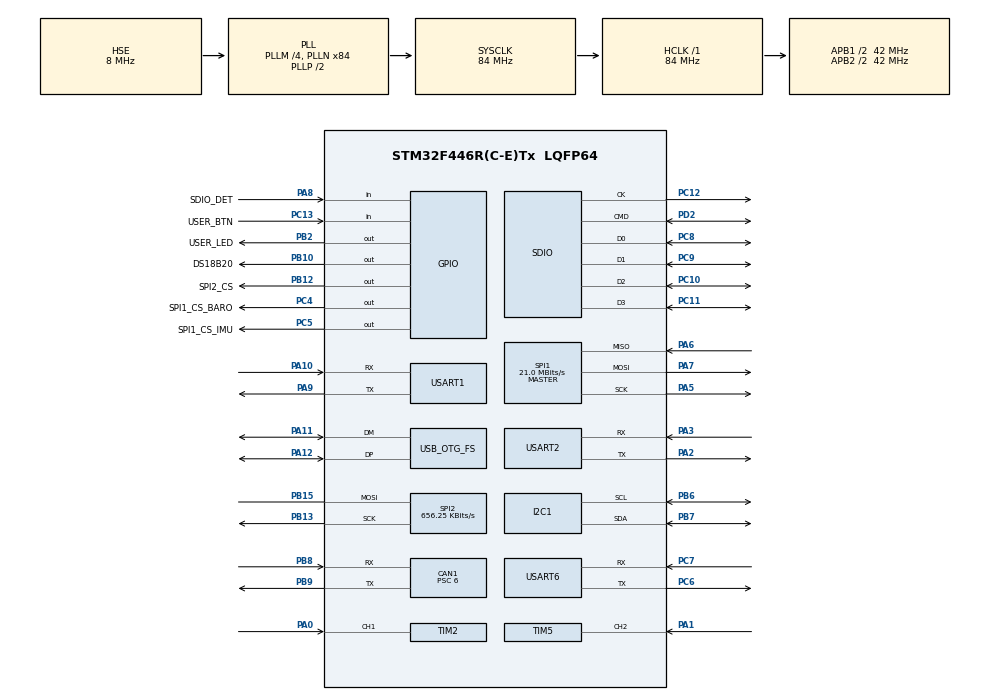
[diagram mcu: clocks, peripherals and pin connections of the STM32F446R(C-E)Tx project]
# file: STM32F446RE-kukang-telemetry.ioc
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CAN1.BS1=CAN_BS1_11TQ
CAN1.BS2=CAN_BS2_2TQ
CAN1.CalculateBaudRate=500000
CAN1.CalculateTimeBit=2000
CAN1.CalculateTimeQuantum=142.85714285714286
CAN1.Prescaler=6
Dma.Request0=SPI2_TX
Dma.SPI2_TX.0.Direction=DMA_MEMORY_TO_PERIPH
Dma.SPI2_TX.0.FIFOMode=DMA_FIFOMODE_DISABLE
Dma.SPI2_TX.0.Instance=DMA1_Stream4
Dma.SPI2_TX.0.MemDataAlignment=DMA_MDATAALIGN_BYTE
Dma.SPI2_TX.0.MemInc=DMA_MINC_ENABLE
Dma.SPI2_TX.0.Mode=DMA_NORMAL
Dma.SPI2_TX.0.PeriphDataAlignment=DMA_PDATAALIGN_BYTE
Dma.SPI2_TX.0.PeriphInc=DMA_PINC_DISABLE
Dma.SPI2_TX.0.Priority=DMA_PRIORITY_LOW
FATFS.BSP.number=1
FATFS._MAX_SS=4096
FATFS._USE_LFN=1
FATFS0.BSP.STBoard=false
FATFS0.BSP.api=Unknown
FATFS0.BSP.instance=PA8
FATFS0.BSP.ip=GPIO
FATFS0.BSP.mode=Input
FATFS0.BSP.name=Detect_SDIO
FATFS0.BSP.solution=PA8
Mcu.Family=STM32F4
Mcu.Name=STM32F446R(C-E)Tx
Mcu.Package=LQFP64
NVIC.CAN1_RX0_IRQn=true\:0\:0\:false\:false\:true\:true\:true\:true
NVIC.CAN1_RX1_IRQn=true\:0\:0\:false\:false\:true\:true\:true\:true
NVIC.CAN1_SCE_IRQn=true\:0\:0\:false\:false\:true\:true\:true\:true
NVIC.CAN1_TX_IRQn=true\:0\:0\:false\:false\:true\:true\:true\:true
NVIC.DMA1_Stream4_IRQn=true\:0\:0\:false\:false\:true\:false\:true\:true
NVIC.I2C1_ER_IRQn=true\:0\:0\:false\:false\:true\:true\:true\:true
NVIC.I2C1_EV_IRQn=true\:0\:0\:false\:false\:true\:true\:true\:true
NVIC.OTG_FS_IRQn=true\:0\:0\:false\:false\:true\:false\:true\:true
NVIC.PriorityGroup=NVIC_PRIORITYGROUP_4
NVIC.SDIO_IRQn=true\:0\:0\:false\:false\:true\:true\:true\:true
NVIC.SPI1_IRQn=true\:0\:0\:false\:false\:true\:true\:true\:true
NVIC.SPI2_IRQn=true\:0\:0\:false\:false\:true\:true\:true\:true
NVIC.TIM2_IRQn=true\:0\:0\:false\:false\:true\:true\:true\:true
NVIC.TIM5_IRQn=true\:0\:0\:false\:false\:true\:true\:true\:true
NVIC.TIM8_TRG_COM_TIM14_IRQn=true\:0\:0\:false\:false\:true\:true\:true\:true
NVIC.USART1_IRQn=true\:0\:0\:false\:false\:true\:true\:true\:true
NVIC.USART2_IRQn=true\:0\:0\:false\:false\:true\:true\:true\:true
NVIC.USART6_IRQn=true\:0\:0\:false\:false\:true\:true\:true\:true
PA0-WKUP.Signal=S_TIM2_CH1_ETR
PA1.Signal=S_TIM5_CH2
PA10.Mode=Asynchronous
PA10.Signal=USART1_RX
PA11.Mode=Device_Only
PA11.Signal=USB_OTG_FS_DM
PA12.Mode=Device_Only
PA12.Signal=USB_OTG_FS_DP
PA13.Mode=Serial_Wire
PA13.Signal=SYS_JTMS-SWDIO
PA14.Mode=Serial_Wire
PA14.Signal=SYS_JTCK-SWCLK
PA2.Mode=Asynchronous
PA2.Signal=USART2_TX
PA3.Mode=Asynchronous
PA3.Signal=USART2_RX
PA5.Mode=Full_Duplex_Master
PA5.Signal=SPI1_SCK
PA6.Mode=Full_Duplex_Master
PA6.Signal=SPI1_MISO
PA7.Mode=Full_Duplex_Master
PA7.Signal=SPI1_MOSI
PA8.GPIO_Label=SDIO_DET
PA8.GPIO_PuPd=GPIO_PULLUP
PA8.Signal=GPIO_Input
PA9.Mode=Asynchronous
PA9.Signal=USART1_TX
PB10.GPIO_Label=DS18B20
PB10.GPIO_ModeDefaultOutputPP=GPIO_MODE_OUTPUT_OD
PB10.GPIO_PuPd=GPIO_PULLUP
PB10.GPIO_Speed=GPIO_SPEED_FREQ_HIGH
PB10.PinState=GPIO_PIN_SET
PB10.Signal=GPIO_Output
PB12.GPIO_Label=SPI2_CS
PB12.Signal=GPIO_Output
PB13.Mode=Simplex_Bidirectional_Master
PB13.Signal=SPI2_SCK
PB15.Mode=Simplex_Bidirectional_Master
PB15.Signal=SPI2_MOSI
PB2.GPIO_Label=USER_LED
PB2.Signal=GPIO_Output
PB6.Mode=I2C
PB6.Signal=I2C1_SCL
PB7.Mode=I2C
PB7.Signal=I2C1_SDA
PB8.GPIO_PuPd=GPIO_PULLUP
PB8.Mode=CAN_Activate
PB8.Signal=CAN1_RX
PB9.Mode=CAN_Activate
PB9.Signal=CAN1_TX
PC10.GPIO_PuPd=GPIO_PULLUP
PC10.Mode=SD_4_bits_Wide_bus
PC10.Signal=SDIO_D2
PC11.GPIO_PuPd=GPIO_PULLUP
PC11.Mode=SD_4_bits_Wide_bus
PC11.Signal=SDIO_D3
PC12.GPIO_PuPd=GPIO_PULLUP
PC12.Mode=SD_4_bits_Wide_bus
PC12.Signal=SDIO_CK
PC13.GPIO_Label=USER_BTN
PC13.GPIO_PuPd=GPIO_PULLDOWN
PC13.Signal=GPIO_Input
PC14-OSC32_IN.Mode=LSE-External-Oscillator
PC14-OSC32_IN.Signal=RCC_OSC32_IN
PC15-OSC32_OUT.Mode=LSE-External-Oscillator
PC15-OSC32_OUT.Signal=RCC_OSC32_OUT
PC4.GPIO_Label=SPI1_CS_BARO
PC4.Signal=GPIO_Output
PC5.GPIO_Label=SPI1_CS_IMU
PC5.Signal=GPIO_Output
PC6.Mode=Asynchronous
PC6.Signal=USART6_TX
PC7.Mode=Asynchronous
PC7.Signal=USART6_RX
PC8.GPIO_PuPd=GPIO_PULLUP
PC8.Mode=SD_4_bits_Wide_bus
PC8.Signal=SDIO_D0
PC9.GPIO_PuPd=GPIO_PULLUP
PC9.Mode=SD_4_bits_Wide_bus
PC9.Signal=SDIO_D1
PD2.GPIO_PuPd=GPIO_PULLUP
PD2.Mode=SD_4_bits_Wide_bus
PD2.Signal=SDIO_CMD
PH0-OSC_IN.Mode=HSE-External-Oscillator
PH0-OSC_IN.Signal=RCC_OSC_IN
PH1-OSC_OUT.Mode=HSE-External-Oscillator
PH1-OSC_OUT.Signal=RCC_OSC_OUT
ProjectManager.HeapSize=0x600
ProjectManager.StackSize=0x1000
ProjectManager.TargetToolchain=STM32CubeIDE
RCC.AHBFreq_Value=84000000
RCC.APB1CLKDivider=RCC_HCLK_DIV2
RCC.APB1Freq_Value=42000000
RCC.APB1TimFreq_Value=84000000
RCC.APB2CLKDivider=RCC_HCLK_DIV2
RCC.APB2Freq_Value=42000000
RCC.APB2TimFreq_Value=84000000
RCC.CortexFreq_Value=84000000
RCC.HCLKFreq_Value=84000000
RCC.HSE_VALUE=8000000
RCC.PLLM=4
RCC.PLLN=84
RCC.PLLQ=7
RCC.PLLSAIM=4
RCC.PLLSAIN=96
RCC.PLLSAIP=RCC_PLLSAIP_DIV4
RCC.SYSCLKFreq_VALUE=84000000
RCC.SYSCLKSource=RCC_SYSCLKSOURCE_PLLCLK
RCC.USBCLockSelection=RCC_CLK48CLKSOURCE_PLLSAIP
RCC.USBFreq_Value=48000000
RCC.VCOOutputFreq_Value=168000000
SDIO.ClockDiv=10
SH.S_TIM2_CH1_ETR.0=TIM2_CH1,Input_Capture1_from_TI1
SH.S_TIM5_CH2.0=TIM5_CH2,Input_Capture2_from_TI2
SPI1.CalculateBaudRate=21.0 MBits/s
SPI1.Direction=SPI_DIRECTION_2LINES
SPI1.Mode=SPI_MODE_MASTER
SPI1.VirtualType=VM_MASTER
SPI2.BaudRatePrescaler=SPI_BAUDRATEPRESCALER_64
SPI2.CLKPhase=SPI_PHASE_2EDGE
SPI2.CLKPolarity=SPI_POLARITY_HIGH
SPI2.CalculateBaudRate=656.25 KBits/s
SPI2.Direction=SPI_DIRECTION_1LINE
SPI2.FirstBit=SPI_FIRSTBIT_LSB
SPI2.Mode=SPI_MODE_MASTER
SPI2.VirtualType=VM_MASTER
TIM2.Channel-Input_Capture1_from_TI1=TIM_CHANNEL_1
TIM5.Channel-Input_Capture2_from_TI2=TIM_CHANNEL_2
USART1.VirtualMode=VM_ASYNC
USART2.VirtualMode=VM_ASYNC
USART6.VirtualMode=VM_ASYNC
USB_DEVICE.CLASS_NAME_FS=CDC
USB_DEVICE.VirtualMode-CDC_FS=Cdc
USB_DEVICE.VirtualModeFS=Cdc_FS
USB_OTG_FS.VirtualMode=Device_Only
VP_FATFS_VS_SDIO.Mode=SDIO
VP_TIM14_VS_ClockSourceINT.Mode=Enable_Timer
VP_USB_DEVICE_VS_USB_DEVICE_CDC_FS.Mode=CDC_FS
board=custom

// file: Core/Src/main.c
/* USER CODE BEGIN Header */
/**
 ******************************************************************************
 * @file           : main.c
 * @brief          : Main program body
 ******************************************************************************
 * @attention
 *
 * Copyright (c) 2026 STMicroelectronics.
 * All rights reserved.
 *
 * This software is licensed under terms that can be found in the LICENSE file
 * in the root directory of this software component.
 * If no LICENSE file comes with this software, it is provided AS-IS.
 *
 ******************************************************************************
 */
/* USER CODE END Header */
#include "main.h"
#include "fatfs.h"
#include "usb_device.h"

/* USER CODE BEGIN Includes */
#include "bmp280.h"
#include "cli.h"
#include "config.h"
#include "ds18b20.h"
#include "gps_neo6m.h"
#include "mpu9250.h"
#include "speed.h"
#include "tm1638.h"
#include <stdio.h>

/* USER CODE END Includes */

/* USER CODE BEGIN PD */
#define M_PI 3.14
/* USER CODE END PD */

CAN_HandleTypeDef hcan1;

I2C_HandleTypeDef hi2c1;

SD_HandleTypeDef hsd;

SPI_HandleTypeDef hspi1;
SPI_HandleTypeDef hspi2;
DMA_HandleTypeDef hdma_spi2_tx;

TIM_HandleTypeDef htim2;
TIM_HandleTypeDef htim5;
TIM_HandleTypeDef htim14;

UART_HandleTypeDef huart1;
UART_HandleTypeDef huart2;
UART_HandleTypeDef huart6;

void SystemClock_Config(void);
void PeriphCommonClock_Config(void);
static void MX_GPIO_Init(void);
static void MX_DMA_Init(void);
static void MX_CAN1_Init(void);
static void MX_I2C1_Init(void);
static void MX_SPI1_Init(void);
static void MX_USART1_UART_Init(void);
static void MX_USART2_UART_Init(void);
static void MX_SDIO_SD_Init(void);
static void MX_SPI2_Init(void);
static void MX_TIM2_Init(void);
static void MX_TIM5_Init(void);
static void MX_USART6_UART_Init(void);
static void MX_TIM14_Init(void);

/* USER CODE BEGIN 0 */
CAN_TxHeaderTypeDef TxHeader;
CAN_RxHeaderTypeDef RxHeader;
uint8_t TxData[8];
uint8_t RxData[8];
uint32_t TxMailbox;

volatile float can_vbus = 0.0f;
volatile float can_actual_iq = 0.0f;
volatile uint8_t can_motor_active = 0;
volatile uint32_t last_can_motor_tick = 0;

void HAL_CAN_RxFifo0MsgPendingCallback(CAN_HandleTypeDef *hcan) {
  if (HAL_CAN_GetRxMessage(hcan, CAN_RX_FIFO0, &RxHeader, RxData) != HAL_OK) {
    Error_Handler();
  }

  if (RxHeader.StdId == 0x20) {
    HAL_GPIO_TogglePin(USER_LED_GPIO_Port, USER_LED_Pin);
    can_motor_active = RxData[0];
    uint16_t vbus_centi = (uint16_t)(RxData[1] | (RxData[2] << 8));
    int16_t iq_centi = (int16_t)(RxData[3] | (RxData[4] << 8));

    can_vbus = (float)vbus_centi / 100.0f;
    can_actual_iq = (float)iq_centi / 100.0f;
    last_can_motor_tick = HAL_GetTick();
  }
}

// ==============================================================================
// WHEEL SPEED DIGITAL FILTER & MOVING AVERAGE ALGORITHM (PA0 & PA1)
// ==============================================================================
// 1. Hardware Input Filter: TIM2_CH1 & TIM5_CH2 configured with ICFilter = 0x0F
//    (rejects electrical EMI / MOSFET switching pulses < 3 microseconds).
// 2. Glitch / Outlier Rejection: Ignores implausibly high speeds (> 100 km/h)
//    caused by contact bounce or noise spikes.
// 3. Circular Buffer Moving Average (SMA): Filters sensor misalignment and
// jitter
//    in O(1) time without blocking or consuming measurable CPU overhead.
// 4. Deceleration Clamping & Smooth Timeout: Extrapolates deceleration so the
//    reading ramps down smoothly when coasting/stopping instead of freezing.
// ==============================================================================
#define SPEED_FILTER_SIZE 6            // Moving average window (6 samples)
#define SPEED_MAX_PLAUSIBLE_KMH 100.0f // Plausible speed ceiling for EV (km/h)
#define RPM_MAX_PLAUSIBLE 2000.0f      // Plausible RPM ceiling

typedef struct {
  float buffer[SPEED_FILTER_SIZE];
  float sum;
  uint8_t index;
  uint8_t count;
  float filtered;
} SpeedFilter_t;

static SpeedFilter_t filter_speed_left = {0};
static SpeedFilter_t filter_speed_right = {0};
static SpeedFilter_t filter_rpm_left = {0};
static SpeedFilter_t filter_rpm_right = {0};

static volatile uint32_t last_valid_pulse_left = 0;
static volatile uint32_t last_valid_pulse_right = 0;

static void SpeedFilter_Reset(SpeedFilter_t *f) {
  for (int i = 0; i < SPEED_FILTER_SIZE; i++) {
    f->buffer[i] = 0.0f;
  }
  f->sum = 0.0f;
  f->index = 0;
  f->count = 0;
  f->filtered = 0.0f;
}

static void SpeedFilter_Init(void) {
  SpeedFilter_Reset(&filter_speed_left);
  SpeedFilter_Reset(&filter_speed_right);
  SpeedFilter_Reset(&filter_rpm_left);
  SpeedFilter_Reset(&filter_rpm_right);
  last_valid_pulse_left = 0;
  last_valid_pulse_right = 0;
}

static inline float SpeedFilter_Update(SpeedFilter_t *f, float new_val,
                                       float max_plausible) {
  // Reject noise spikes / impossible readings
  if (new_val < 0.0f || (max_plausible > 0.0f && new_val > max_plausible)) {
    return f->filtered;
  }

  // Circular moving average in O(1) time
  f->sum -= f->buffer[f->index];
  f->buffer[f->index] = new_val;
  f->sum += new_val;

  f->index++;
  if (f->index >= SPEED_FILTER_SIZE) {
    f->index = 0;
  }
  if (f->count < SPEED_FILTER_SIZE) {
    f->count++;
  }

  f->filtered = f->sum / (float)f->count;
  return f->filtered;
}

static void SpeedFilter_ProcessTimeout(uint32_t current_tick) {
  Speed_UpdateTimeout();

  // Deceleration tracking & smooth decay for Left Wheel (PA1 / TIM5 CH2)
  if (last_valid_pulse_left > 0) {
    uint32_t dt_left = current_tick - last_valid_pulse_left;
    if (dt_left >= 2000 || speed_left_kmh == 0.0f) {
      speed_left_kmh = 0.0f;
      rpm_tim5ch2 = 0.0f;
      SpeedFilter_Reset(&filter_speed_left);
      SpeedFilter_Reset(&filter_rpm_left);
    } else if (dt_left > 300 && current_config.wheel_diameter_mm > 0.0f &&
               current_config.pulses_per_rev > 0.0f) {
      float max_possible_kmh =
          (M_PI * current_config.wheel_diameter_mm * 3600.0f) /
          ((float)dt_left * current_config.pulses_per_rev * 1000.0f);
      if (speed_left_kmh > max_possible_kmh) {
        speed_left_kmh = max_possible_kmh;
        rpm_tim5ch2 = (speed_left_kmh * 1000000.0f) /
                      (M_PI * current_config.wheel_diameter_mm * 60.0f);
        filter_speed_left.filtered = speed_left_kmh;
        filter_rpm_left.filtered = rpm_tim5ch2;
      }
    }
  }

  // Deceleration tracking & smooth decay for Right Wheel (PA0 / TIM2 CH1)
  if (last_valid_pulse_right > 0) {
    uint32_t dt_right = current_tick - last_valid_pulse_right;
    if (dt_right >= 2000 || speed_right_kmh == 0.0f) {
      speed_right_kmh = 0.0f;
      rpm_tim2ch1 = 0.0f;
      SpeedFilter_Reset(&filter_speed_right);
      SpeedFilter_Reset(&filter_rpm_right);
    } else if (dt_right > 300 && current_config.wheel_diameter_mm > 0.0f &&
               current_config.pulses_per_rev > 0.0f) {
      float max_possible_kmh =
          (M_PI * current_config.wheel_diameter_mm * 3600.0f) /
          ((float)dt_right * current_config.pulses_per_rev * 1000.0f);
      if (speed_right_kmh > max_possible_kmh) {
        speed_right_kmh = max_possible_kmh;
        rpm_tim2ch1 = (speed_right_kmh * 1000000.0f) /
                      (M_PI * current_config.wheel_diameter_mm * 60.0f);
        filter_speed_right.filtered = speed_right_kmh;
        filter_rpm_right.filtered = rpm_tim2ch1;
      }
    }
  }
}

void HAL_TIM_IC_CaptureCallback(TIM_HandleTypeDef *htim) {
  Speed_IC_Callback(htim);

  uint32_t now = HAL_GetTick();

  if (htim->Instance == TIM2 && htim->Channel == HAL_TIM_ACTIVE_CHANNEL_1) {
    // Right wheel: PA0
    speed_right_kmh = SpeedFilter_Update(&filter_speed_right, speed_right_kmh,
                                         SPEED_MAX_PLAUSIBLE_KMH);
    rpm_tim2ch1 =
        SpeedFilter_Update(&filter_rpm_right, rpm_tim2ch1, RPM_MAX_PLAUSIBLE);
    last_valid_pulse_right = now;
  } else if (htim->Instance == TIM5 &&
             htim->Channel == HAL_TIM_ACTIVE_CHANNEL_2) {
    // Left wheel: PA1
    speed_left_kmh = SpeedFilter_Update(&filter_speed_left, speed_left_kmh,
                                        SPEED_MAX_PLAUSIBLE_KMH);
    rpm_tim5ch2 =
        SpeedFilter_Update(&filter_rpm_left, rpm_tim5ch2, RPM_MAX_PLAUSIBLE);
    last_valid_pulse_left = now;
  }
}

#define MOTOR_DEFAULT_RPM 1000
#define MOTOR_RPM_STEP 100
#define MOTOR_RPM_MIN 100
#define MOTOR_RPM_MAX 5000

void CAN_SendMotorControl(uint8_t run_state, uint16_t rpm) {
  TxHeader.StdId = 0x10;
  TxHeader.ExtId = 0x00;
  TxHeader.IDE = CAN_ID_STD;
  TxHeader.RTR = CAN_RTR_DATA;
  TxHeader.DLC = 8;
  TxHeader.TransmitGlobalTime = DISABLE;

  TxData[0] = run_state;
  TxData[1] = (uint8_t)(rpm & 0xFF);
  TxData[2] = (uint8_t)((rpm >> 8) & 0xFF);
  TxData[3] = 0;
  TxData[4] = 0;
  TxData[5] = 0;
  TxData[6] = 0;
  TxData[7] = 0;

  if (HAL_CAN_GetTxMailboxesFreeLevel(&hcan1) > 0) {
    HAL_CAN_AddTxMessage(&hcan1, &TxHeader, TxData, &TxMailbox);
  }
}

/* USER CODE END 0 */

int main(void) {

  /* MCU Configuration--------------------------------------------------------*/

  /* Reset of all peripherals, Initializes the Flash interface and the Systick.
   */
  HAL_Init();

  /* Configure the system clock */
  SystemClock_Config();

  /* Configure the peripherals common clocks */
  PeriphCommonClock_Config();

  /* Initialize all configured peripherals */
  MX_GPIO_Init();
  MX_DMA_Init();
  MX_CAN1_Init();
  MX_I2C1_Init();
  MX_SPI1_Init();
  MX_USART1_UART_Init();
  MX_USART2_UART_Init();
  MX_SDIO_SD_Init();
  MX_SPI2_Init();
  MX_TIM2_Init();
  MX_TIM5_Init();
  MX_USART6_UART_Init();
  MX_USB_DEVICE_Init();
  MX_FATFS_Init();
  MX_TIM14_Init();
  /* USER CODE BEGIN 2 */
  HAL_TIM_Base_Start(&htim14); // Start Timer 14 for microsecond delays
  CAN_FilterTypeDef canfilterconfig;

  canfilterconfig.FilterBank = 0;
  canfilterconfig.FilterMode = CAN_FILTERMODE_IDMASK;
  canfilterconfig.FilterScale = CAN_FILTERSCALE_32BIT;
  canfilterconfig.FilterIdHigh = 0x0000;
  canfilterconfig.FilterIdLow = 0x0000;
  canfilterconfig.FilterMaskIdHigh = 0x0000;
  canfilterconfig.FilterMaskIdLow = 0x0000;
  canfilterconfig.FilterFIFOAssignment = CAN_RX_FIFO0;
  canfilterconfig.FilterActivation = ENABLE;
  canfilterconfig.SlaveStartFilterBank = 14;

  if (HAL_CAN_ConfigFilter(&hcan1, &canfilterconfig) != HAL_OK) {
    Error_Handler();
  }

  if (HAL_CAN_Start(&hcan1) != HAL_OK) {
    Error_Handler();
  }

  if (HAL_CAN_ActivateNotification(&hcan1, CAN_IT_RX_FIFO0_MSG_PENDING) !=
      HAL_OK) {
    Error_Handler();
  }

  TxHeader.StdId = 0x10;
  TxHeader.ExtId = 0x01;
  TxHeader.RTR = CAN_RTR_DATA;
  TxHeader.IDE = CAN_ID_STD;
  TxHeader.DLC = 8;
  TxHeader.TransmitGlobalTime = DISABLE;
  /* USER CODE END 2 */

  /* Infinite loop */
  /* USER CODE BEGIN WHILE */
  TM1638_Init();
  TM1638_Clear();

  BMP280_Init(&hspi1);
  MPU9250_Init(&hspi1);
  GPS_Init(&huart1);

  Config_Init();
  CLI_Init();
  Speed_Init();
  SpeedFilter_Init();

  uint8_t last_raw_buttons = 0;
  uint8_t debounced_buttons = 0;
  uint8_t prev_debounced_buttons = 0;
  uint32_t last_btn_action_tick[8] = {0};

  char display_str[16];

  uint16_t motor_target_rpm = MOTOR_DEFAULT_RPM;
  uint8_t stop_packets_remaining = 0;
  uint32_t btn2_hold_time = 0;
  uint32_t btn3_hold_time = 0;
  uint32_t last_btn_repeat = 0;

  uint8_t display_mode =
      0; // 0=Set RPM, 1=Accel/Gyro, 2=Temp/Baro, 3=GPS, 4=Motor/Efficiency
  uint8_t sub_mode = 0; // Sub-mode for current display_mode

  float accumulated_distance_km = 0.0f;
  float accumulated_energy_ws = 0.0f;
  float accumulated_energy_kwh = 0.0f;
  float km_per_kwh = 0.0f;
  uint32_t last_energy_tick = 0;

  BMP280_Data bmp_data = {0};
  MPU9250_Data imu_data = {0};
  GPS_Data gps_data = {0};

  DS18B20_Device ds18b20_devs[2];
  uint8_t num_ds18b20 = DS18B20_Search(GPIOB, GPIO_PIN_10, ds18b20_devs, 2);
  uint32_t last_temp_req = 0;
  uint8_t temp_req_pending = 0;

#pragma pack(push, 1)
  typedef struct {
    uint32_t timestamp_ms; // Fallback tick timestamp
    uint16_t year;
    uint8_t month;
    uint8_t day;
    uint8_t hour;
    uint8_t min;
    uint8_t sec;
    uint8_t gps_time_valid;
    float accel_x;
    float accel_y;
    float accel_z;
    float gyro_x;
    float gyro_y;
    float gyro_z;
    float altitude;
    float latitude;
    float longitude;
    float gps_altitude;
    float pdop;
    uint8_t fix_type;
    uint8_t num_satellites;
    float speed_left;
    float speed_right;
    float vbus;
    float iq;
    float rpm_right;
    float rpm_left;
    float temp1;
    float temp2;
  } LogData;
#pragma pack(pop)

  uint8_t is_logging = 0;
  uint8_t sd_error = 0;
  uint32_t log_start_time = 0;

  uint32_t last_ui_tick = 0;
  uint32_t last_log_tick = 0;
  uint32_t last_sync_tick = 0;

  char current_filename[16] = {0};

  while (1) {
    CLI_Task();

    uint32_t current_tick = HAL_GetTick();
    SpeedFilter_ProcessTimeout(current_tick);

    // --- DS18B20 Periodic Search Retry (if < 2 sensors detected) ---
    static uint32_t last_ds18b20_search = 0;
    if (num_ds18b20 < 2 && current_tick - last_ds18b20_search >= 3000) {
      last_ds18b20_search = current_tick;
      uint8_t found = DS18B20_Search(GPIOB, GPIO_PIN_10, ds18b20_devs, 2);
      if (found > num_ds18b20) {
        num_ds18b20 = found;
      }
    }

    // --- DS18B20 Async State Machine ---
    if (num_ds18b20 > 0) {
      if (!temp_req_pending && current_tick - last_temp_req >= 1000) {
        DS18B20_StartAll(GPIOB, GPIO_PIN_10);
        last_temp_req = current_tick;
        temp_req_pending = 1;
      } else if (temp_req_pending && current_tick - last_temp_req >= 800) {
        for (int i = 0; i < num_ds18b20; i++) {
          ds18b20_devs[i].temperature =
              DS18B20_ReadTemp(GPIOB, GPIO_PIN_10, ds18b20_devs[i].rom_code);
        }
        temp_req_pending = 0;
        last_temp_req = current_tick;
      }
    }

    // --- Logging Task (Configurable Interval) ---
    // Must run BEFORE UI Task to prevent SDIO FIFO polling from colliding with
    // SPI2 DMA!
    if (is_logging) {
      if (current_tick - last_log_tick >=
          (uint32_t)current_config.log_interval_ms) {
        last_log_tick = current_tick;

        // Calculate Wheel RPM & Temperature with robust fallbacks
        float log_r1 = rpm_tim2ch1;
        float log_r2 = rpm_tim5ch2;
        if (log_r1 <= 0.0f && speed_right_kmh > 0.0f &&
            current_config.wheel_diameter_mm > 0.0f) {
          log_r1 = (speed_right_kmh * 1000000.0f) /
                   (M_PI * current_config.wheel_diameter_mm * 60.0f);
        }
        if (log_r2 <= 0.0f && speed_left_kmh > 0.0f &&
            current_config.wheel_diameter_mm > 0.0f) {
          log_r2 = (speed_left_kmh * 1000000.0f) /
                   (M_PI * current_config.wheel_diameter_mm * 60.0f);
        }

        float log_t1 = 0.0f;
        float log_t2 = 0.0f;
        if (num_ds18b20 >= 2) {
          log_t1 = (ds18b20_devs[0].temperature > -50.0f &&
                    ds18b20_devs[0].temperature < 125.0f &&
                    ds18b20_devs[0].temperature != 0.0f)
                       ? ds18b20_devs[0].temperature
                       : bmp_data.temperature;
          log_t2 = (ds18b20_devs[1].temperature > -50.0f &&
                    ds18b20_devs[1].temperature < 125.0f &&
                    ds18b20_devs[1].temperature != 0.0f)
                       ? ds18b20_devs[1].temperature
                       : bmp_data.temperature;
        } else if (num_ds18b20 == 1) {
          log_t1 = (ds18b20_devs[0].temperature > -50.0f &&
                    ds18b20_devs[0].temperature < 125.0f &&
                    ds18b20_devs[0].temperature != 0.0f)
                       ? ds18b20_devs[0].temperature
                       : bmp_data.temperature;
          log_t2 = bmp_data.temperature;
        } else {
          log_t1 = bmp_data.temperature;
          log_t2 = bmp_data.temperature;
        }

        LogData log_entry;
        log_entry.timestamp_ms = current_tick - log_start_time;
        log_entry.year = gps_data.year;
        log_entry.month = gps_data.month;
        log_entry.day = gps_data.day;
        log_entry.hour = gps_data.hour;
        log_entry.min = gps_data.min;
        log_entry.sec = gps_data.sec;
        log_entry.gps_time_valid = gps_data.is_time_valid;

        log_entry.accel_x = imu_data.accel_x;
        log_entry.accel_y = imu_data.accel_y;
        log_entry.accel_z = imu_data.accel_z;
        log_entry.gyro_x = imu_data.gyro_x;
        log_entry.gyro_y = imu_data.gyro_y;
        log_entry.gyro_z = imu_data.gyro_z;
        log_entry.altitude = bmp_data.altitude;
        log_entry.latitude = gps_data.latitude;
        log_entry.longitude = gps_data.longitude;
        log_entry.gps_altitude = gps_data.gps_altitude;
        log_entry.pdop = gps_data.pdop;
        log_entry.fix_type = gps_data.fix_type;
        log_entry.num_satellites = gps_data.num_satellites;

        log_entry.speed_left = speed_left_kmh;
        log_entry.speed_right = speed_right_kmh;
        log_entry.vbus = can_vbus;
        log_entry.iq = can_actual_iq;
        log_entry.rpm_right = log_r1;
        log_entry.rpm_left = log_r2;
        log_entry.temp1 = log_t1;
        log_entry.temp2 = log_t2;

        UINT bytes_written = 0;
        FRESULT w_res =
            f_write(&SDFile, &log_entry, sizeof(LogData), &bytes_written);
        if (w_res != FR_OK || bytes_written < sizeof(LogData)) {
          CLI_Print("Log err: write %d (wrote %u/%u). Recovering SD...\r\n",
                    w_res, bytes_written, (uint32_t)sizeof(LogData));
          sd_error = 1;

          // Auto Recovery Mechanism
          f_close(&SDFile);
          f_mount(NULL, SDPath, 1); // Force unmount

          if (f_mount(&SDFatFS, SDPath, 1) == FR_OK) {
            if (f_open(&SDFile, current_filename, FA_OPEN_APPEND | FA_WRITE) ==
                FR_OK) {
              // Enforce alignment to sizeof(LogData) so fptr never shifts off
              // record boundaries
              FSIZE_t cur_sz = f_size(&SDFile);
              FSIZE_t aligned_sz = (cur_sz / sizeof(LogData)) * sizeof(LogData);
              if (cur_sz != aligned_sz) {
                f_lseek(&SDFile, aligned_sz);
              }
              last_sync_tick = HAL_GetTick();
              CLI_Print("SD Recovered (Aligned to %lu)!\r\n",
                        (uint32_t)aligned_sz);
              sd_error = 0;
            } else {
              is_logging = 0; // Fatal error, stop logging
              CLI_Print("SD Recovery failed\r\n");
            }
          } else {
            is_logging = 0;
            CLI_Print("SD Mount failed\r\n");
          }
        }

        // Periodic sync every 2000 ms to avoid microSD flash wear latency
        if (is_logging && (current_tick - last_sync_tick >= 2000)) {
          FRESULT s_res = f_sync(&SDFile);
          if (s_res != FR_OK) {
            CLI_Print("Log err: sync %d. Recovering SD...\r\n", s_res);
            sd_error = 1;
            // Same recovery logic for sync
            f_close(&SDFile);
            f_mount(NULL, SDPath, 1);
            if (f_mount(&SDFatFS, SDPath, 1) == FR_OK) {
              if (f_open(&SDFile, current_filename,
                         FA_OPEN_APPEND | FA_WRITE) == FR_OK) {
                FSIZE_t cur_sz = f_size(&SDFile);
                FSIZE_t aligned_sz =
                    (cur_sz / sizeof(LogData)) * sizeof(LogData);
                if (cur_sz != aligned_sz) {
                  f_lseek(&SDFile, aligned_sz);
                }
                last_sync_tick = HAL_GetTick();
                CLI_Print("SD Recovered (Aligned to %lu)!\r\n",
                          (uint32_t)aligned_sz);
                sd_error = 0;
              } else {
                is_logging = 0;
              }
            } else {
              is_logging = 0;
            }
          }
          last_sync_tick = current_tick;
        }
      } // End if (interval)
    } // End if (is_logging)

    // --- UI and Sensor Task (20 Hz / 50ms) ---
    if (current_tick - last_ui_tick >= 50) {
      last_ui_tick = current_tick;

      // 1. Read and Debounce TM1638 Buttons
      uint8_t raw_buttons = TM1638_ReadButtons();
      // Require 2 consecutive matching 50ms samples to eliminate
      // bounce/glitches
      if (raw_buttons == last_raw_buttons) {
        debounced_buttons = raw_buttons;
      }
      last_raw_buttons = raw_buttons;

      // Detect rising edges (0 -> 1) and falling edges (1 -> 0)
      uint8_t pressed_edges = debounced_buttons & ~prev_debounced_buttons;
      uint8_t released_edges = ~debounced_buttons & prev_debounced_buttons;

      // --- Motor Throttle & Speed Controls ---
      // Button 1 (S1 = 0x01): Throttle / Gas (Momentary)
      uint8_t throttle_active = (debounced_buttons & 0x01) ? 1 : 0;
      if (throttle_active) {
        CAN_SendMotorControl(1, motor_target_rpm);
      } else if (released_edges & 0x01) {
        // Throttle just released: return display to Set RPM and send stop
        // packets
        display_mode = 0;
        CAN_SendMotorControl(0, 0);
        stop_packets_remaining = 3;
      } else if (stop_packets_remaining > 0) {
        CAN_SendMotorControl(0, 0);
        stop_packets_remaining--;
      }

      // Button 2 (S2 = 0x02): Speed Down (Decrement target speed)
      if ((pressed_edges & 0x02) &&
          (current_tick - last_btn_action_tick[1] >= 200)) {
        last_btn_action_tick[1] = current_tick;
        if (motor_target_rpm >= (MOTOR_RPM_MIN + MOTOR_RPM_STEP)) {
          motor_target_rpm -= MOTOR_RPM_STEP;
        } else {
          motor_target_rpm = MOTOR_RPM_MIN;
        }
        display_mode = 0; // Switch to Set RPM display
        btn2_hold_time = current_tick;
      } else if ((debounced_buttons & 0x02) &&
                 (current_tick - btn2_hold_time > 400) &&
                 (current_tick - last_btn_repeat > 100)) {
        if (motor_target_rpm >= (MOTOR_RPM_MIN + MOTOR_RPM_STEP)) {
          motor_target_rpm -= MOTOR_RPM_STEP;
        } else {
          motor_target_rpm = MOTOR_RPM_MIN;
        }
        display_mode = 0; // Switch to Set RPM display
        last_btn_repeat = current_tick;
      }

      // Button 3 (S3 = 0x04): Speed Up (Increment target speed)
      if ((pressed_edges & 0x04) &&
          (current_tick - last_btn_action_tick[2] >= 200)) {
        last_btn_action_tick[2] = current_tick;
        if (motor_target_rpm + MOTOR_RPM_STEP <= MOTOR_RPM_MAX) {
          motor_target_rpm += MOTOR_RPM_STEP;
        } else {
          motor_target_rpm = MOTOR_RPM_MAX;
        }
        display_mode = 0; // Switch to Set RPM display
        btn3_hold_time = current_tick;
      } else if ((debounced_buttons & 0x04) &&
                 (current_tick - btn3_hold_time > 400) &&
                 (current_tick - last_btn_repeat > 100)) {
        if (motor_target_rpm + MOTOR_RPM_STEP <= MOTOR_RPM_MAX) {
          motor_target_rpm += MOTOR_RPM_STEP;
        } else {
          motor_target_rpm = MOTOR_RPM_MAX;
        }
        display_mode = 0; // Switch to Set RPM display
        last_btn_repeat = current_tick;
      }

      // Button 8 (S8 = 0x80): Accel & Gyro
      if ((pressed_edges & 0x80) &&
          (current_tick - last_btn_action_tick[7] >= 250)) {
        last_btn_action_tick[7] = current_tick;
        if (display_mode == 1)
          sub_mode = (sub_mode + 1) % 6;
        else {
          display_mode = 1;
          sub_mode = 0;
        }
      }

      // Button 7 (S7 = 0x40): Temperatures and Barometer
      if ((pressed_edges & 0x40) &&
          (current_tick - last_btn_action_tick[6] >= 250)) {
        last_btn_action_tick[6] = current_tick;
        if (display_mode == 2)
          sub_mode = (sub_mode + 1) % (2 + num_ds18b20);
        else {
          display_mode = 2;
          sub_mode = 0;
        }
      }

      // Button 6 (S6 = 0x20): GPS
      if ((pressed_edges & 0x20) &&
          (current_tick - last_btn_action_tick[5] >= 250)) {
        last_btn_action_tick[5] = current_tick;
        if (display_mode == 3)
          sub_mode = (sub_mode + 1) % 6; // Lat, Lon, Sats, Fix, PDOP, Alt
        else {
          display_mode = 3;
          sub_mode = 0;
        }
      }

      // Button 5 (S5 = 0x10): Logging Start / Stop (400ms lockout prevents
      // chatter restart)
      if ((pressed_edges & 0x10) &&
          (current_tick - last_btn_action_tick[4] >= 400)) {
        last_btn_action_tick[4] = current_tick;
        if (is_logging || sd_error) {
          f_close(&SDFile);
          f_mount(NULL, SDPath, 1);
          is_logging = 0;
          sd_error = 0;
          CLI_Print("Log stopped / Err cleared\r\n");
        } else {
          FRESULT mount_res = f_mount(&SDFatFS, SDPath, 1);
          if (mount_res == FR_OK) {
            uint16_t file_index = 1;
            while (file_index < 1000) {
              sprintf(current_filename, "log%u.bin", file_index);
              FRESULT open_res =
                  f_open(&SDFile, current_filename, FA_CREATE_NEW | FA_WRITE);
              if (open_res == FR_OK) {
                is_logging = 1;
                sd_error = 0;
                log_start_time = HAL_GetTick();
                last_log_tick = log_start_time; // Reset log tick
                last_sync_tick =
                    log_start_time; // Reset sync tick to prevent premature sync

                // Reset distance and energy baseline at start line
                accumulated_distance_km = 0.0f;
                accumulated_energy_ws = 0.0f;
                accumulated_energy_kwh = 0.0f;
                km_per_kwh = 0.0f;
                last_energy_tick = log_start_time;

                CLI_Print("Log started: %s (Baseline Reset)\r\n",
                          current_filename);
                break;
              }
              file_index++;
            }
            if (file_index >= 1000) {
              CLI_Print("Log err: index full\r\n");
              sd_error = 1;
            }
          } else {
            CLI_Print("Log err: mount %d\r\n", mount_res);
            sd_error = 1;
          }
        }
      }

      // Button 4 (S4 = 0x08): Motor Telemetry & Efficiency (Vbus, Iq, Watt,
      // RPM1, RPM2, km/kWh)
      if ((pressed_edges & 0x08) &&
          (current_tick - last_btn_action_tick[3] >= 250)) {
        last_btn_action_tick[3] = current_tick;
        if (display_mode == 4)
          sub_mode = (sub_mode + 1) % 6;
        else {
          display_mode = 4;
          sub_mode = 0;
        }
      }

      prev_debounced_buttons = debounced_buttons;

      // 2. Read Sensors
      MPU9250_ReadSensor(&hspi1, &imu_data);
      BMP280_ReadSensor(&hspi1, &bmp_data);
      GPS_GetLatestData(&gps_data); // Gets latest parsed data

      // 3. Distance and Energy Accumulation (since start line / Button 5
      // logging)
      if (last_energy_tick == 0) {
        last_energy_tick = current_tick;
      }
      float dt_energy = (current_tick - last_energy_tick) / 1000.0f;
      last_energy_tick = current_tick;

      if (is_logging && dt_energy > 0.0f && dt_energy < 1.0f) {
        // Distance: integrated from average wheel speed
        float avg_wheel_spd = (speed_left_kmh + speed_right_kmh) / 2.0f;
        if (avg_wheel_spd > 0.0f) {
          accumulated_distance_km += (avg_wheel_spd / 3600.0f) * dt_energy;
        }

        // Electrical Energy: Power (Watt) = Vbus * Iq
        float motor_power = can_vbus * can_actual_iq;
        if (motor_power > 0.0f) {
          accumulated_energy_ws += motor_power * dt_energy;
          accumulated_energy_kwh = accumulated_energy_ws / 3600000.0f;
        }

        // Efficiency: km / kWh
        if (accumulated_energy_kwh > 0.00005f) {
          km_per_kwh = accumulated_distance_km / accumulated_energy_kwh;
        } else {
          km_per_kwh = 0.0f;
        }
      }

      // 4. Display Logic
      uint8_t led_mask = 0;

      SpeedFilter_ProcessTimeout(current_tick);
      // Coast strategy warning
      float avg_speed = (speed_left_kmh + speed_right_kmh) / 2.0f;
      if (avg_speed > 0 && avg_speed < current_config.coast_speed_min) {
        if ((HAL_GetTick() / 250) % 2) {
          led_mask |= 0x40; // Blink LED 7
        }
      }

      if (throttle_active) {
        // Throttle active: Leftmost segment is 'A' (indicator), followed by
        // target speed
        snprintf(display_str, sizeof(display_str), "A%7u", motor_target_rpm);
        led_mask |= 0x01; // LED 1 indicates throttle command is being sent
      } else {
        switch (display_mode) {
        case 0: // Set RPM display
          snprintf(display_str, sizeof(display_str), "SET%5u",
                   motor_target_rpm);
          led_mask |= 0x02; // LED 2 indicates set RPM display
          break;

        case 1: // Accel & Gyro
          led_mask = 1 << sub_mode;
          if (sub_mode == 0)
            sprintf(display_str, "Ax %5.2f", imu_data.accel_x);
          else if (sub_mode == 1)
            sprintf(display_str, "Ay %5.2f", imu_data.accel_y);
          else if (sub_mode == 2)
            sprintf(display_str, "Az %5.2f", imu_data.accel_z);
          else if (sub_mode == 3)
            sprintf(display_str, "gx %5.1f", imu_data.gyro_x);
          else if (sub_mode == 4)
            sprintf(display_str, "gy %5.1f", imu_data.gyro_y);
          else if (sub_mode == 5)
            sprintf(display_str, "gz %5.1f", imu_data.gyro_z);
          break;

        case 2: // Temperatures dan baro
          led_mask = 1 << sub_mode;
          if (sub_mode == 0)
            sprintf(display_str, "b %6.2f", bmp_data.temperature);
          else if (sub_mode == 1) // Show altitude with 3 decimal places
            sprintf(display_str, "%8.3f", bmp_data.altitude);
          else if (sub_mode == 2) {
            if (num_ds18b20 > 0)
              sprintf(display_str, "d1%6.2f", ds18b20_devs[0].temperature);
            else
              sprintf(display_str, "d1 NONE ");
          } else if (sub_mode == 3) {
            if (num_ds18b20 > 1)
              sprintf(display_str, "d2%6.2f", ds18b20_devs[1].temperature);
            else
              sprintf(display_str, "d2 NONE ");
          }
          break;
        case 3:                     // GPS
          led_mask = 1 << sub_mode; // LED 1 to 6
          if (gps_data.is_valid || sub_mode >= 2) {
            if (sub_mode == 0)
              sprintf(display_str, "%8.4f", gps_data.latitude);
            else if (sub_mode == 1)
              sprintf(display_str, "%8.4f", gps_data.longitude);
            else if (sub_mode == 2)
              sprintf(display_str, "SATS  %2d", gps_data.num_satellites);
            else if (sub_mode == 3)
              sprintf(display_str, "FIX    %d", gps_data.fix_type);
            else if (sub_mode == 4)
              sprintf(display_str, "DOP %4.1f", gps_data.pdop);
            else if (sub_mode == 5)
              sprintf(display_str, "ALT%5.1f", gps_data.gps_altitude);
          } else {
            sprintf(display_str, "NO  GPS ");
          }
          break;

        case 4:                     // Motor Telemetry & Efficiency (Button 4)
          led_mask = 1 << sub_mode; // LED 1 to 6
          if (sub_mode == 0) {
            // DC Bus Voltage (V)
            sprintf(display_str, "U  %5.2f", can_vbus);
          } else if (sub_mode == 1) {
            // Actual Iq (A)
            sprintf(display_str, "A  %5.2f", can_actual_iq);
          } else if (sub_mode == 2) {
            // Motor Power (Watt = Vbus * Iq)
            float power_w = can_vbus * can_actual_iq;
            sprintf(display_str, "P  %5.1f", power_w);
          } else if (sub_mode == 3) {
            // RPM Timer 2 CH1 (Right Wheel)
            sprintf(display_str, "r1 %5.0f", rpm_tim2ch1);
          } else if (sub_mode == 4) {
            // RPM Timer 5 CH2 (Left Wheel)
            sprintf(display_str, "r2 %5.0f", rpm_tim5ch2);
          } else if (sub_mode == 5) {
            // Efficiency (km / kWh)
            sprintf(display_str, "E  %5.1f", km_per_kwh);
          }
          break;
        }
      }

      if (sd_error) {
        led_mask |= 0x80; // Solid LED 8 on error
      } else if (is_logging) {
        if ((current_tick / 500) % 2) {
          led_mask |= 0x80; // Blink LED 8 on logging
        }
      }

      TM1638_SendDMA(display_str, led_mask);
    } // End UI Task

    // --- Coprocessor Telemetry Task (2 Hz / 500ms) ---
    static uint32_t last_telemetry_tick = 0;
    if (current_tick - last_telemetry_tick >= 500) {
      last_telemetry_tick = current_tick;

      // Temperature fallback: prioritize DS18B20; fallback to BMP280
      // temperature if DS18B20 is unavailable or invalid
      float temp1 = 0.0f;
      float temp2 = 0.0f;
      if (num_ds18b20 >= 2) {
        temp1 = (ds18b20_devs[0].temperature > -50.0f &&
                 ds18b20_devs[0].temperature < 125.0f &&
                 ds18b20_devs[0].temperature != 0.0f)
                    ? ds18b20_devs[0].temperature
                    : bmp_data.temperature;
        temp2 = (ds18b20_devs[1].temperature > -50.0f &&
                 ds18b20_devs[1].temperature < 125.0f &&
                 ds18b20_devs[1].temperature != 0.0f)
                    ? ds18b20_devs[1].temperature
                    : bmp_data.temperature;
      } else if (num_ds18b20 == 1) {
        temp1 = (ds18b20_devs[0].temperature > -50.0f &&
                 ds18b20_devs[0].temperature < 125.0f &&
                 ds18b20_devs[0].temperature != 0.0f)
                    ? ds18b20_devs[0].temperature
                    : bmp_data.temperature;
        temp2 = bmp_data.temperature;
      } else {
        temp1 = bmp_data.temperature;
        temp2 = bmp_data.temperature;
      }

      // Wheel RPM fallback: TIM2 is Right Wheel, TIM5 is Left Wheel.
      // If RPM is 0 while wheel speed is non-zero, calculate RPM directly from
      // speed to prevent zero RPM in telemetry
      float r1 = rpm_tim2ch1;
      float r2 = rpm_tim5ch2;
      if (r1 <= 0.0f && speed_right_kmh > 0.0f &&
          current_config.wheel_diameter_mm > 0.0f) {
        r1 = (speed_right_kmh * 1000000.0f) /
             (M_PI * current_config.wheel_diameter_mm * 60.0f);
      }
      if (r2 <= 0.0f && speed_left_kmh > 0.0f &&
          current_config.wheel_diameter_mm > 0.0f) {
        r2 = (speed_left_kmh * 1000000.0f) /
             (M_PI * current_config.wheel_diameter_mm * 60.0f);
      }

      static char tele_buf[512];
      int len = snprintf(
          tele_buf, sizeof(tele_buf),
          "{\"ts\":%lu,\"y\":%u,\"m\":%u,\"d\":%u,\"h\":%u,\"min\":%u,\"s\":%u,"
          "\"v\":%u,"
          "\"ax\":%.2f,\"ay\":%.2f,\"az\":%.2f,"
          "\"gx\":%.1f,\"gy\":%.1f,\"gz\":%.1f,"
          "\"alt\":%.1f,"
          "\"lat\":%.6f,\"lon\":%.6f,\"galt\":%.1f,"
          "\"pd\":%.1f,\"fix\":%u,\"ns\":%u,"
          "\"sl\":%.1f,\"sr\":%.1f,"
          "\"vbus\":%.2f,\"iq\":%.2f,"
          "\"r1\":%.0f,\"r2\":%.0f,"
          "\"t1\":%.2f,\"t2\":%.2f}\n",
          (unsigned long)current_tick, (unsigned int)gps_data.year,
          (unsigned int)gps_data.month, (unsigned int)gps_data.day,
          (unsigned int)gps_data.hour, (unsigned int)gps_data.min,
          (unsigned int)gps_data.sec, (unsigned int)gps_data.is_time_valid,
          (double)imu_data.accel_x, (double)imu_data.accel_y,
          (double)imu_data.accel_z, (double)imu_data.gyro_x,
          (double)imu_data.gyro_y, (double)imu_data.gyro_z,
          (double)bmp_data.altitude, (double)gps_data.latitude,
          (double)gps_data.longitude, (double)gps_data.gps_altitude,
          (double)gps_data.pdop, (unsigned int)gps_data.fix_type,
          (unsigned int)gps_data.num_satellites, (double)speed_left_kmh,
          (double)speed_right_kmh, (double)can_vbus, (double)can_actual_iq,
          (double)r1, (double)r2, (double)temp1, (double)temp2);

      if (len > 0 && len < sizeof(tele_buf)) {
        // Use IT (Interrupt) to prevent blocking the main loop
        // If the previous transmission hasn't finished, this returns HAL_BUSY
        // and skips
        HAL_UART_Transmit_IT(&huart2, (uint8_t *)tele_buf, len);
      }
    }

    /* USER CODE END WHILE */

  }
}

void SystemClock_Config(void) {
  RCC_OscInitTypeDef RCC_OscInitStruct = {0};
  RCC_ClkInitTypeDef RCC_ClkInitStruct = {0};

  /** Configure the main internal regulator output voltage
   */
  __HAL_RCC_PWR_CLK_ENABLE();
  __HAL_PWR_VOLTAGESCALING_CONFIG(PWR_REGULATOR_VOLTAGE_SCALE3);

  /** Initializes the RCC Oscillators according to the specified parameters
   * in the RCC_OscInitTypeDef structure.
   */
  RCC_OscInitStruct.OscillatorType = RCC_OSCILLATORTYPE_HSE;
  RCC_OscInitStruct.HSEState = RCC_HSE_ON;
  RCC_OscInitStruct.PLL.PLLState = RCC_PLL_ON;
  RCC_OscInitStruct.PLL.PLLSource = RCC_PLLSOURCE_HSE;
  RCC_OscInitStruct.PLL.PLLM = 4;
  RCC_OscInitStruct.PLL.PLLN = 84;
  RCC_OscInitStruct.PLL.PLLP = RCC_PLLP_DIV2;
  RCC_OscInitStruct.PLL.PLLQ = 7;
  RCC_OscInitStruct.PLL.PLLR = 2;
  if (HAL_RCC_OscConfig(&RCC_OscInitStruct) != HAL_OK) {
    Error_Handler();
  }

  /** Initializes the CPU, AHB and APB buses clocks
   */
  RCC_ClkInitStruct.ClockType = RCC_CLOCKTYPE_HCLK | RCC_CLOCKTYPE_SYSCLK |
                                RCC_CLOCKTYPE_PCLK1 | RCC_CLOCKTYPE_PCLK2;
  RCC_ClkInitStruct.SYSCLKSource = RCC_SYSCLKSOURCE_PLLCLK;
  RCC_ClkInitStruct.AHBCLKDivider = RCC_SYSCLK_DIV1;
  RCC_ClkInitStruct.APB1CLKDivider = RCC_HCLK_DIV2;
  RCC_ClkInitStruct.APB2CLKDivider = RCC_HCLK_DIV2;

  if (HAL_RCC_ClockConfig(&RCC_ClkInitStruct, FLASH_LATENCY_2) != HAL_OK) {
    Error_Handler();
  }
}

void PeriphCommonClock_Config(void) {
  RCC_PeriphCLKInitTypeDef PeriphClkInitStruct = {0};

  /** Initializes the peripherals clock
   */
  PeriphClkInitStruct.PeriphClockSelection =
      RCC_PERIPHCLK_SDIO | RCC_PERIPHCLK_CLK48;
  PeriphClkInitStruct.PLLSAI.PLLSAIM = 4;
  PeriphClkInitStruct.PLLSAI.PLLSAIN = 96;
  PeriphClkInitStruct.PLLSAI.PLLSAIQ = 2;
  PeriphClkInitStruct.PLLSAI.PLLSAIP = RCC_PLLSAIP_DIV4;
  PeriphClkInitStruct.PLLSAIDivQ = 1;
  PeriphClkInitStruct.Clk48ClockSelection = RCC_CLK48CLKSOURCE_PLLSAIP;
  PeriphClkInitStruct.SdioClockSelection = RCC_SDIOCLKSOURCE_CLK48;
  if (HAL_RCCEx_PeriphCLKConfig(&PeriphClkInitStruct) != HAL_OK) {
    Error_Handler();
  }
}

static void MX_CAN1_Init(void) {

  hcan1.Instance = CAN1;
  hcan1.Init.Prescaler = 6;
  hcan1.Init.Mode = CAN_MODE_NORMAL;
  hcan1.Init.SyncJumpWidth = CAN_SJW_1TQ;
  hcan1.Init.TimeSeg1 = CAN_BS1_11TQ;
  hcan1.Init.TimeSeg2 = CAN_BS2_2TQ;
  hcan1.Init.TimeTriggeredMode = DISABLE;
  hcan1.Init.AutoBusOff = DISABLE;
  hcan1.Init.AutoWakeUp = DISABLE;
  hcan1.Init.AutoRetransmission = DISABLE;
  hcan1.Init.ReceiveFifoLocked = DISABLE;
  hcan1.Init.TransmitFifoPriority = DISABLE;
  if (HAL_CAN_Init(&hcan1) != HAL_OK) {
    Error_Handler();
  }
  /* USER CODE BEGIN CAN1_Init 2 */
  hcan1.Instance = CAN1;
  hcan1.Init.Prescaler = 6;
  hcan1.Init.Mode = CAN_MODE_NORMAL;
  hcan1.Init.SyncJumpWidth = CAN_SJW_1TQ;
  hcan1.Init.TimeSeg1 = CAN_BS1_11TQ;
  hcan1.Init.TimeSeg2 = CAN_BS2_2TQ;
  hcan1.Init.TimeTriggeredMode = DISABLE;
  hcan1.Init.AutoBusOff = ENABLE;
  hcan1.Init.AutoWakeUp = DISABLE;
  hcan1.Init.AutoRetransmission = ENABLE;
  hcan1.Init.ReceiveFifoLocked = DISABLE;
  hcan1.Init.TransmitFifoPriority = DISABLE;
  if (HAL_CAN_Init(&hcan1) != HAL_OK) {
    Error_Handler();
  }
  /* USER CODE END CAN1_Init 2 */
}

static void MX_I2C1_Init(void) {

  hi2c1.Instance = I2C1;
  hi2c1.Init.ClockSpeed = 100000;
  hi2c1.Init.DutyCycle = I2C_DUTYCYCLE_2;
  hi2c1.Init.OwnAddress1 = 0;
  hi2c1.Init.AddressingMode = I2C_ADDRESSINGMODE_7BIT;
  hi2c1.Init.DualAddressMode = I2C_DUALADDRESS_DISABLE;
  hi2c1.Init.OwnAddress2 = 0;
  hi2c1.Init.GeneralCallMode = I2C_GENERALCALL_DISABLE;
  hi2c1.Init.NoStretchMode = I2C_NOSTRETCH_DISABLE;
  if (HAL_I2C_Init(&hi2c1) != HAL_OK) {
    Error_Handler();
  }
}

static void MX_SDIO_SD_Init(void) {

  hsd.Instance = SDIO;
  hsd.Init.ClockEdge = SDIO_CLOCK_EDGE_RISING;
  hsd.Init.ClockBypass = SDIO_CLOCK_BYPASS_DISABLE;
  hsd.Init.ClockPowerSave = SDIO_CLOCK_POWER_SAVE_DISABLE;
  hsd.Init.BusWide = SDIO_BUS_WIDE_1B;
  hsd.Init.HardwareFlowControl = SDIO_HARDWARE_FLOW_CONTROL_DISABLE;
  hsd.Init.ClockDiv = 10;
}

static void MX_SPI1_Init(void) {

  /* SPI1 parameter configuration*/
  hspi1.Instance = SPI1;
  hspi1.Init.Mode = SPI_MODE_MASTER;
  hspi1.Init.Direction = SPI_DIRECTION_2LINES;
  hspi1.Init.DataSize = SPI_DATASIZE_8BIT;
  hspi1.Init.CLKPolarity = SPI_POLARITY_LOW;
  hspi1.Init.CLKPhase = SPI_PHASE_1EDGE;
  hspi1.Init.NSS = SPI_NSS_SOFT;
  hspi1.Init.BaudRatePrescaler = SPI_BAUDRATEPRESCALER_2;
  hspi1.Init.FirstBit = SPI_FIRSTBIT_MSB;
  hspi1.Init.TIMode = SPI_TIMODE_DISABLE;
  hspi1.Init.CRCCalculation = SPI_CRCCALCULATION_DISABLE;
  hspi1.Init.CRCPolynomial = 10;
  if (HAL_SPI_Init(&hspi1) != HAL_OK) {
    Error_Handler();
  }
}

static void MX_SPI2_Init(void) {

  /* SPI2 parameter configuration*/
  hspi2.Instance = SPI2;
  hspi2.Init.Mode = SPI_MODE_MASTER;
  hspi2.Init.Direction = SPI_DIRECTION_1LINE;
  hspi2.Init.DataSize = SPI_DATASIZE_8BIT;
  hspi2.Init.CLKPolarity = SPI_POLARITY_HIGH;
  hspi2.Init.CLKPhase = SPI_PHASE_2EDGE;
  hspi2.Init.NSS = SPI_NSS_SOFT;
  hspi2.Init.BaudRatePrescaler = SPI_BAUDRATEPRESCALER_64;
  hspi2.Init.FirstBit = SPI_FIRSTBIT_LSB;
  hspi2.Init.TIMode = SPI_TIMODE_DISABLE;
  hspi2.Init.CRCCalculation = SPI_CRCCALCULATION_DISABLE;
  hspi2.Init.CRCPolynomial = 10;
  if (HAL_SPI_Init(&hspi2) != HAL_OK) {
    Error_Handler();
  }
}

static void MX_TIM2_Init(void) {

  TIM_MasterConfigTypeDef sMasterConfig = {0};
  TIM_IC_InitTypeDef sConfigIC = {0};

  htim2.Instance = TIM2;
  htim2.Init.Prescaler = 0;
  htim2.Init.CounterMode = TIM_COUNTERMODE_UP;
  htim2.Init.Period = 4294967295;
  htim2.Init.ClockDivision = TIM_CLOCKDIVISION_DIV1;
  htim2.Init.AutoReloadPreload = TIM_AUTORELOAD_PRELOAD_DISABLE;
  if (HAL_TIM_IC_Init(&htim2) != HAL_OK) {
    Error_Handler();
  }
  sMasterConfig.MasterOutputTrigger = TIM_TRGO_RESET;
  sMasterConfig.MasterSlaveMode = TIM_MASTERSLAVEMODE_DISABLE;
  if (HAL_TIMEx_MasterConfigSynchronization(&htim2, &sMasterConfig) != HAL_OK) {
    Error_Handler();
  }
  sConfigIC.ICPolarity = TIM_INPUTCHANNELPOLARITY_RISING;
  sConfigIC.ICSelection = TIM_ICSELECTION_DIRECTTI;
  sConfigIC.ICPrescaler = TIM_ICPSC_DIV1;
  sConfigIC.ICFilter = 0x0F;
  if (HAL_TIM_IC_ConfigChannel(&htim2, &sConfigIC, TIM_CHANNEL_1) != HAL_OK) {
    Error_Handler();
  }
  /* USER CODE BEGIN TIM2_Init 2 */
  htim2.Instance = TIM2;
  htim2.Init.Prescaler = 0;
  htim2.Init.CounterMode = TIM_COUNTERMODE_UP;
  htim2.Init.Period = 4294967295;
  htim2.Init.ClockDivision = TIM_CLOCKDIVISION_DIV1;
  htim2.Init.AutoReloadPreload = TIM_AUTORELOAD_PRELOAD_DISABLE;
  if (HAL_TIM_IC_Init(&htim2) != HAL_OK) {
    Error_Handler();
  }
  sMasterConfig.MasterOutputTrigger = TIM_TRGO_RESET;
  sMasterConfig.MasterSlaveMode = TIM_MASTERSLAVEMODE_DISABLE;
  if (HAL_TIMEx_MasterConfigSynchronization(&htim2, &sMasterConfig) != HAL_OK) {
    Error_Handler();
  }
  sConfigIC.ICPolarity = TIM_INPUTCHANNELPOLARITY_RISING;
  sConfigIC.ICSelection = TIM_ICSELECTION_DIRECTTI;
  sConfigIC.ICPrescaler = TIM_ICPSC_DIV1;
  sConfigIC.ICFilter = 0x0F;
  if (HAL_TIM_IC_ConfigChannel(&htim2, &sConfigIC, TIM_CHANNEL_1) != HAL_OK) {
    Error_Handler();
  }
  /* USER CODE END TIM2_Init 2 */
}

static void MX_TIM5_Init(void) {

  TIM_MasterConfigTypeDef sMasterConfig = {0};
  TIM_IC_InitTypeDef sConfigIC = {0};

  htim5.Instance = TIM5;
  htim5.Init.Prescaler = 0;
  htim5.Init.CounterMode = TIM_COUNTERMODE_UP;
  htim5.Init.Period = 4294967295;
  htim5.Init.ClockDivision = TIM_CLOCKDIVISION_DIV1;
  htim5.Init.AutoReloadPreload = TIM_AUTORELOAD_PRELOAD_DISABLE;
  if (HAL_TIM_IC_Init(&htim5) != HAL_OK) {
    Error_Handler();
  }
  sMasterConfig.MasterOutputTrigger = TIM_TRGO_RESET;
  sMasterConfig.MasterSlaveMode = TIM_MASTERSLAVEMODE_DISABLE;
  if (HAL_TIMEx_MasterConfigSynchronization(&htim5, &sMasterConfig) != HAL_OK) {
    Error_Handler();
  }
  sConfigIC.ICPolarity = TIM_INPUTCHANNELPOLARITY_RISING;
  sConfigIC.ICSelection = TIM_ICSELECTION_DIRECTTI;
  sConfigIC.ICPrescaler = TIM_ICPSC_DIV1;
  sConfigIC.ICFilter = 0x0F;
  if (HAL_TIM_IC_ConfigChannel(&htim5, &sConfigIC, TIM_CHANNEL_2) != HAL_OK) {
    Error_Handler();
  }
  /* USER CODE BEGIN TIM5_Init 2 */
  htim5.Instance = TIM5;
  htim5.Init.Prescaler = 0;
  htim5.Init.CounterMode = TIM_COUNTERMODE_UP;
  htim5.Init.Period = 4294967295;
  htim5.Init.ClockDivision = TIM_CLOCKDIVISION_DIV1;
  htim5.Init.AutoReloadPreload = TIM_AUTORELOAD_PRELOAD_DISABLE;
  if (HAL_TIM_IC_Init(&htim5) != HAL_OK) {
    Error_Handler();
  }
  sMasterConfig.MasterOutputTrigger = TIM_TRGO_RESET;
  sMasterConfig.MasterSlaveMode = TIM_MASTERSLAVEMODE_DISABLE;
  if (HAL_TIMEx_MasterConfigSynchronization(&htim5, &sMasterConfig) != HAL_OK) {
    Error_Handler();
  }
  sConfigIC.ICPolarity = TIM_INPUTCHANNELPOLARITY_RISING;
  sConfigIC.ICSelection = TIM_ICSELECTION_DIRECTTI;
  sConfigIC.ICPrescaler = TIM_ICPSC_DIV1;
  sConfigIC.ICFilter = 0x0F;
  if (HAL_TIM_IC_ConfigChannel(&htim5, &sConfigIC, TIM_CHANNEL_2) != HAL_OK) {
    Error_Handler();
  }
  /* USER CODE END TIM5_Init 2 */
}

static void MX_TIM14_Init(void) {

  htim14.Instance = TIM14;
  htim14.Init.Prescaler = 0;
  htim14.Init.CounterMode = TIM_COUNTERMODE_UP;
  htim14.Init.Period = 65535;
  htim14.Init.ClockDivision = TIM_CLOCKDIVISION_DIV1;
  htim14.Init.AutoReloadPreload = TIM_AUTORELOAD_PRELOAD_DISABLE;
  if (HAL_TIM_Base_Init(&htim14) != HAL_OK) {
    Error_Handler();
  }
  /* USER CODE BEGIN TIM14_Init 2 */
  htim14.Instance = TIM14;
  htim14.Init.Prescaler = 83;
  htim14.Init.CounterMode = TIM_COUNTERMODE_UP;
  htim14.Init.Period = 65535;
  htim14.Init.ClockDivision = TIM_CLOCKDIVISION_DIV1;
  htim14.Init.AutoReloadPreload = TIM_AUTORELOAD_PRELOAD_DISABLE;
  if (HAL_TIM_Base_Init(&htim14) != HAL_OK) {
    Error_Handler();
  }
  /* USER CODE END TIM14_Init 2 */
}

static void MX_USART1_UART_Init(void) {

  huart1.Instance = USART1;
  huart1.Init.BaudRate = 115200;
  huart1.Init.WordLength = UART_WORDLENGTH_8B;
  huart1.Init.StopBits = UART_STOPBITS_1;
  huart1.Init.Parity = UART_PARITY_NONE;
  huart1.Init.Mode = UART_MODE_TX_RX;
  huart1.Init.HwFlowCtl = UART_HWCONTROL_NONE;
  huart1.Init.OverSampling = UART_OVERSAMPLING_16;
  if (HAL_UART_Init(&huart1) != HAL_OK) {
    Error_Handler();
  }
  /* USER CODE BEGIN USART1_Init 2 */
  huart1.Instance = USART1;
  huart1.Init.BaudRate = 230400;
  huart1.Init.WordLength = UART_WORDLENGTH_8B;
  huart1.Init.StopBits = UART_STOPBITS_1;
  huart1.Init.Parity = UART_PARITY_NONE;
  huart1.Init.Mode = UART_MODE_TX_RX;
  huart1.Init.HwFlowCtl = UART_HWCONTROL_NONE;
  huart1.Init.OverSampling = UART_OVERSAMPLING_16;
  if (HAL_UART_Init(&huart1) != HAL_OK) {
    Error_Handler();
  }
  /* USER CODE END USART1_Init 2 */
}

static void MX_USART2_UART_Init(void) {

  huart2.Instance = USART2;
  huart2.Init.BaudRate = 115200;
  huart2.Init.WordLength = UART_WORDLENGTH_8B;
  huart2.Init.StopBits = UART_STOPBITS_1;
  huart2.Init.Parity = UART_PARITY_NONE;
  huart2.Init.Mode = UART_MODE_TX_RX;
  huart2.Init.HwFlowCtl = UART_HWCONTROL_NONE;
  huart2.Init.OverSampling = UART_OVERSAMPLING_16;
  if (HAL_UART_Init(&huart2) != HAL_OK) {
    Error_Handler();
  }
}

static void MX_USART6_UART_Init(void) {

  huart6.Instance = USART6;
  huart6.Init.BaudRate = 115200;
  huart6.Init.WordLength = UART_WORDLENGTH_8B;
  huart6.Init.StopBits = UART_STOPBITS_1;
  huart6.Init.Parity = UART_PARITY_NONE;
  huart6.Init.Mode = UART_MODE_TX_RX;
  huart6.Init.HwFlowCtl = UART_HWCONTROL_NONE;
  huart6.Init.OverSampling = UART_OVERSAMPLING_16;
  if (HAL_UART_Init(&huart6) != HAL_OK) {
    Error_Handler();
  }
}

static void MX_DMA_Init(void) {

  /* DMA controller clock enable */
  __HAL_RCC_DMA1_CLK_ENABLE();

  /* DMA interrupt init */
  /* DMA1_Stream4_IRQn interrupt configuration */
  HAL_NVIC_SetPriority(DMA1_Stream4_IRQn, 0, 0);
  HAL_NVIC_EnableIRQ(DMA1_Stream4_IRQn);
}

static void MX_GPIO_Init(void) {
  GPIO_InitTypeDef GPIO_InitStruct = {0};

  /* GPIO Ports Clock Enable */
  __HAL_RCC_GPIOC_CLK_ENABLE();
  __HAL_RCC_GPIOH_CLK_ENABLE();
  __HAL_RCC_GPIOA_CLK_ENABLE();
  __HAL_RCC_GPIOB_CLK_ENABLE();
  __HAL_RCC_GPIOD_CLK_ENABLE();

  /*Configure GPIO pin Output Level */
  HAL_GPIO_WritePin(GPIOC, SPI1_CS_BARO_Pin | SPI1_CS_IMU_Pin, GPIO_PIN_RESET);

  /*Configure GPIO pin Output Level */
  HAL_GPIO_WritePin(GPIOB, USER_LED_Pin | SPI2_CS_Pin, GPIO_PIN_RESET);

  /*Configure GPIO pin Output Level */
  HAL_GPIO_WritePin(DS18B20_GPIO_Port, DS18B20_Pin, GPIO_PIN_SET);

  /*Configure GPIO pin : USER_BTN_Pin */
  GPIO_InitStruct.Pin = USER_BTN_Pin;
  GPIO_InitStruct.Mode = GPIO_MODE_INPUT;
  GPIO_InitStruct.Pull = GPIO_PULLDOWN;
  HAL_GPIO_Init(USER_BTN_GPIO_Port, &GPIO_InitStruct);

  /*Configure GPIO pins : SPI1_CS_BARO_Pin SPI1_CS_IMU_Pin */
  GPIO_InitStruct.Pin = SPI1_CS_BARO_Pin | SPI1_CS_IMU_Pin;
  GPIO_InitStruct.Mode = GPIO_MODE_OUTPUT_PP;
  GPIO_InitStruct.Pull = GPIO_NOPULL;
  GPIO_InitStruct.Speed = GPIO_SPEED_FREQ_LOW;
  HAL_GPIO_Init(GPIOC, &GPIO_InitStruct);

  /*Configure GPIO pins : USER_LED_Pin SPI2_CS_Pin */
  GPIO_InitStruct.Pin = USER_LED_Pin | SPI2_CS_Pin;
  GPIO_InitStruct.Mode = GPIO_MODE_OUTPUT_PP;
  GPIO_InitStruct.Pull = GPIO_NOPULL;
  GPIO_InitStruct.Speed = GPIO_SPEED_FREQ_LOW;
  HAL_GPIO_Init(GPIOB, &GPIO_InitStruct);

  /*Configure GPIO pin : DS18B20_Pin */
  GPIO_InitStruct.Pin = DS18B20_Pin;
  GPIO_InitStruct.Mode = GPIO_MODE_OUTPUT_OD;
  GPIO_InitStruct.Pull = GPIO_PULLUP;
  GPIO_InitStruct.Speed = GPIO_SPEED_FREQ_HIGH;
  HAL_GPIO_Init(DS18B20_GPIO_Port, &GPIO_InitStruct);

  /*Configure GPIO pin : SDIO_DET_Pin */
  GPIO_InitStruct.Pin = SDIO_DET_Pin;
  GPIO_InitStruct.Mode = GPIO_MODE_INPUT;
  GPIO_InitStruct.Pull = GPIO_PULLUP;
  HAL_GPIO_Init(SDIO_DET_GPIO_Port, &GPIO_InitStruct);

}

/* USER CODE BEGIN 4 */
void HAL_UART_RxCpltCallback(UART_HandleTypeDef *huart) {
  if (huart->Instance == USART1) {
    GPS_UART_RxCpltCallback(huart);
  }
}
/* USER CODE END 4 */

void Error_Handler(void) {
  /* USER CODE BEGIN Error_Handler_Debug */
  /* User can add his own implementation to report the HAL error return state
   */
  __disable_irq();
  while (1) {
  }
  /* USER CODE END Error_Handler_Debug */
}
#ifdef USE_FULL_ASSERT
/**
 * @brief  Reports the name of the source file and the source line number
 *         where the assert_param error has occurred.
 * @param  file: pointer to the source file name
 * @param  line: assert_param error line source number
 * @retval None
 */
void assert_failed(uint8_t *file, uint32_t line) {
  /* USER CODE BEGIN 6 */
  /* User can add his own implementation to report the file name and line
     number, ex: printf("Wrong parameters value: file %s on line %d\r\n",
     file, line) */
  /* USER CODE END 6 */
}
#endif /* USE_FULL_ASSERT */
